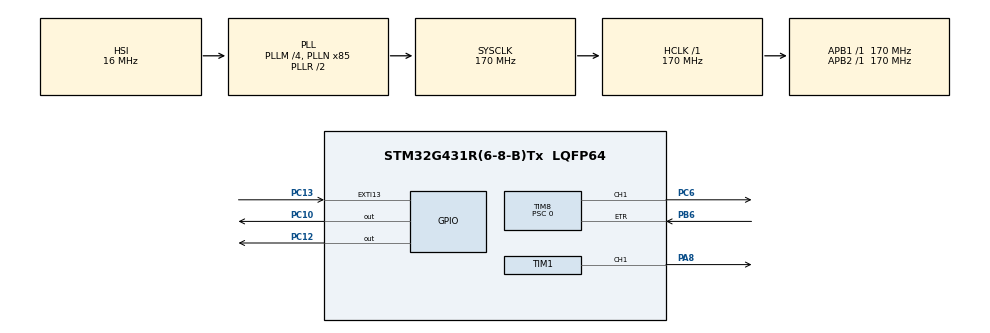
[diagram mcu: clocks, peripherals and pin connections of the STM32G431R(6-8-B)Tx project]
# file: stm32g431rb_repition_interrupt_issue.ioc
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Mcu.Family=STM32G4
Mcu.Name=STM32G431R(6-8-B)Tx
Mcu.Package=LQFP64
NVIC.EXTI15_10_IRQn=true\:0\:0\:false\:false\:true\:true\:true\:true
NVIC.PriorityGroup=NVIC_PRIORITYGROUP_4
NVIC.TIM1_UP_TIM16_IRQn=true\:0\:0\:false\:false\:true\:true\:true\:true
NVIC.TIM8_UP_IRQn=true\:15\:0\:true\:false\:true\:true\:true\:true
PA8.Signal=S_TIM1_CH1
PB6.Signal=S_TIM8_ETR
PC10.Signal=GPIO_Output
PC12.Signal=GPIO_Output
PC13.Signal=GPXTI13
PC6.Signal=S_TIM8_CH1
ProjectManager.HeapSize=0x200
ProjectManager.StackSize=0x400
ProjectManager.TargetToolchain=STM32CubeIDE
RCC.ADC12Freq_Value=170000000
RCC.AHBFreq_Value=170000000
RCC.APB1Freq_Value=170000000
RCC.APB1TimFreq_Value=170000000
RCC.APB2Freq_Value=170000000
RCC.APB2TimFreq_Value=170000000
RCC.CortexFreq_Value=170000000
RCC.EXTERNAL_CLOCK_VALUE=12288000
RCC.HCLKFreq_Value=170000000
RCC.HSE_VALUE=8000000
RCC.HSI48_VALUE=48000000
RCC.HSI_VALUE=16000000
RCC.LSE_VALUE=32768
RCC.PLLM=RCC_PLLM_DIV4
RCC.PLLN=85
RCC.SYSCLKFreq_VALUE=170000000
RCC.SYSCLKSource=RCC_SYSCLKSOURCE_PLLCLK
RCC.USBFreq_Value=170000000
RCC.VCOOutputFreq_Value=340000000
SH.S_TIM1_CH1.0=TIM1_CH1,PWM Generation1 CH1
SH.S_TIM8_CH1.0=TIM8_CH1,PWM Generation1 CH1
SH.S_TIM8_ETR.0=TIM8_ETR,TriggerSource_ETR
TIM1.Channel-PWM\ Generation1\ CH1=TIM_CHANNEL_1
TIM1.CounterMode=TIM_COUNTERMODE_CENTERALIGNED1
TIM1.OC1Preload_PWM=ENABLE
TIM1.OCMode_PWM-PWM\ Generation1\ CH1=TIM_OCMODE_PWM2
TIM1.OCPolarity_1=TIM_OCPOLARITY_LOW
TIM1.PeriodNoDither=10624
TIM1.Prescaler=0
TIM1.PulseNoDither_1=(10624 / 2)
TIM8.Channel-PWM\ Generation1\ CH1=TIM_CHANNEL_1
TIM8.CounterMode=TIM_COUNTERMODE_CENTERALIGNED1
TIM8.OCMode_PWM-PWM\ Generation1\ CH1=TIM_OCMODE_PWM2
TIM8.PeriodNoDither=5312
TIM8.Prescaler=0
TIM8.PulseNoDither_1=20
TIM8.RepetitionCounter=1
VP_SYS_VS_DBSignals.Mode=DisableDeadBatterySignals
VP_TIM8_VS_ControllerModeReset.Mode=Reset Mode
board=custom

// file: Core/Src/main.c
/* USER CODE BEGIN Header */
/**
  ******************************************************************************
  * @file           : main.c
  * @brief          : Main program body
  ******************************************************************************
  * @attention
  *
  * Copyright (c) 2024 STMicroelectronics.
  * All rights reserved.
  *
  * This software is licensed under terms that can be found in the LICENSE file
  * in the root directory of this software component.
  * If no LICENSE file comes with this software, it is provided AS-IS.
  *
  ******************************************************************************
  */
/* USER CODE END Header */
#include "main.h"

void SystemClock_Config(void);
static void MX_GPIO_Init(void);
static void MX_TIM8_Init(void);
static void MX_TIM1_Init(void);

int main(void)
{

  /* MCU Configuration--------------------------------------------------------*/

  /* Reset of all peripherals, Initializes the Flash interface and the Systick. */
  HAL_Init();

  /* Configure the system clock */
  SystemClock_Config();

  /* Initialize all configured peripherals */
  MX_GPIO_Init();
  MX_TIM8_Init();
  MX_TIM1_Init();
  /* USER CODE BEGIN 2 */
  __HAL_FREEZE_TIM8_DBGMCU();

  LL_TIM_SetCounter(TIM8, 0);
  LL_TIM_CC_EnableChannel(TIM8, LL_TIM_CHANNEL_CH1);
  LL_TIM_EnableAllOutputs(TIM8);
  LL_TIM_SetRepetitionCounter(TIM8, 3);
  LL_TIM_GenerateEvent_UPDATE(TIM8);
  LL_TIM_ClearFlag_UPDATE(TIM8);
  LL_TIM_EnableCounter(TIM8);
  LL_TIM_EnableIT_UPDATE(TIM8);

  LL_TIM_SetCounter(TIM1, 0);
  LL_TIM_CC_EnableChannel(TIM1, LL_TIM_CHANNEL_CH1);
  LL_TIM_EnableAllOutputs(TIM1);
  LL_TIM_ClearFlag_UPDATE(TIM1);
  LL_TIM_EnableCounter(TIM1);
  LL_TIM_EnableIT_UPDATE(TIM1);
  /* USER CODE END 2 */

  /* Infinite loop */
  while (1)
  {

  }
}

void SystemClock_Config(void)
{
  RCC_OscInitTypeDef RCC_OscInitStruct = {0};
  RCC_ClkInitTypeDef RCC_ClkInitStruct = {0};

  /** Configure the main internal regulator output voltage
  */
  HAL_PWREx_ControlVoltageScaling(PWR_REGULATOR_VOLTAGE_SCALE1_BOOST);

  /** Initializes the RCC Oscillators according to the specified parameters
  * in the RCC_OscInitTypeDef structure.
  */
  RCC_OscInitStruct.OscillatorType = RCC_OSCILLATORTYPE_HSI;
  RCC_OscInitStruct.HSIState = RCC_HSI_ON;
  RCC_OscInitStruct.HSICalibrationValue = RCC_HSICALIBRATION_DEFAULT;
  RCC_OscInitStruct.PLL.PLLState = RCC_PLL_ON;
  RCC_OscInitStruct.PLL.PLLSource = RCC_PLLSOURCE_HSI;
  RCC_OscInitStruct.PLL.PLLM = RCC_PLLM_DIV4;
  RCC_OscInitStruct.PLL.PLLN = 85;
  RCC_OscInitStruct.PLL.PLLP = RCC_PLLP_DIV2;
  RCC_OscInitStruct.PLL.PLLQ = RCC_PLLQ_DIV2;
  RCC_OscInitStruct.PLL.PLLR = RCC_PLLR_DIV2;
  if (HAL_RCC_OscConfig(&RCC_OscInitStruct) != HAL_OK)
  {
    Error_Handler();
  }

  /** Initializes the CPU, AHB and APB buses clocks
  */
  RCC_ClkInitStruct.ClockType = RCC_CLOCKTYPE_HCLK|RCC_CLOCKTYPE_SYSCLK
                              |RCC_CLOCKTYPE_PCLK1|RCC_CLOCKTYPE_PCLK2;
  RCC_ClkInitStruct.SYSCLKSource = RCC_SYSCLKSOURCE_PLLCLK;
  RCC_ClkInitStruct.AHBCLKDivider = RCC_SYSCLK_DIV1;
  RCC_ClkInitStruct.APB1CLKDivider = RCC_HCLK_DIV1;
  RCC_ClkInitStruct.APB2CLKDivider = RCC_HCLK_DIV1;

  if (HAL_RCC_ClockConfig(&RCC_ClkInitStruct, FLASH_LATENCY_4) != HAL_OK)
  {
    Error_Handler();
  }
}

static void MX_TIM1_Init(void)
{

  LL_TIM_InitTypeDef TIM_InitStruct = {0};
  LL_TIM_OC_InitTypeDef TIM_OC_InitStruct = {0};
  LL_TIM_BDTR_InitTypeDef TIM_BDTRInitStruct = {0};

  LL_GPIO_InitTypeDef GPIO_InitStruct = {0};

  /* Peripheral clock enable */
  LL_APB2_GRP1_EnableClock(LL_APB2_GRP1_PERIPH_TIM1);

  /* TIM1 interrupt Init */
  NVIC_SetPriority(TIM1_UP_TIM16_IRQn, NVIC_EncodePriority(NVIC_GetPriorityGrouping(),0, 0));
  NVIC_EnableIRQ(TIM1_UP_TIM16_IRQn);

  TIM_InitStruct.Prescaler = 0;
  TIM_InitStruct.CounterMode = LL_TIM_COUNTERMODE_CENTER_DOWN;
  TIM_InitStruct.Autoreload = 10624;
  TIM_InitStruct.ClockDivision = LL_TIM_CLOCKDIVISION_DIV1;
  TIM_InitStruct.RepetitionCounter = 0;
  LL_TIM_Init(TIM1, &TIM_InitStruct);
  LL_TIM_DisableARRPreload(TIM1);
  LL_TIM_OC_EnablePreload(TIM1, LL_TIM_CHANNEL_CH1);
  TIM_OC_InitStruct.OCMode = LL_TIM_OCMODE_PWM2;
  TIM_OC_InitStruct.OCState = LL_TIM_OCSTATE_DISABLE;
  TIM_OC_InitStruct.OCNState = LL_TIM_OCSTATE_DISABLE;
  TIM_OC_InitStruct.CompareValue = (10624 / 2);
  TIM_OC_InitStruct.OCPolarity = LL_TIM_OCPOLARITY_LOW;
  TIM_OC_InitStruct.OCNPolarity = LL_TIM_OCPOLARITY_HIGH;
  TIM_OC_InitStruct.OCIdleState = LL_TIM_OCIDLESTATE_LOW;
  TIM_OC_InitStruct.OCNIdleState = LL_TIM_OCIDLESTATE_LOW;
  LL_TIM_OC_Init(TIM1, LL_TIM_CHANNEL_CH1, &TIM_OC_InitStruct);
  LL_TIM_OC_DisableFast(TIM1, LL_TIM_CHANNEL_CH1);
  LL_TIM_SetTriggerOutput(TIM1, LL_TIM_TRGO_RESET);
  LL_TIM_SetTriggerOutput2(TIM1, LL_TIM_TRGO2_RESET);
  LL_TIM_DisableMasterSlaveMode(TIM1);
  TIM_BDTRInitStruct.OSSRState = LL_TIM_OSSR_DISABLE;
  TIM_BDTRInitStruct.OSSIState = LL_TIM_OSSI_DISABLE;
  TIM_BDTRInitStruct.LockLevel = LL_TIM_LOCKLEVEL_OFF;
  TIM_BDTRInitStruct.DeadTime = 0;
  TIM_BDTRInitStruct.BreakState = LL_TIM_BREAK_DISABLE;
  TIM_BDTRInitStruct.BreakPolarity = LL_TIM_BREAK_POLARITY_HIGH;
  TIM_BDTRInitStruct.BreakFilter = LL_TIM_BREAK_FILTER_FDIV1;
  TIM_BDTRInitStruct.BreakAFMode = LL_TIM_BREAK_AFMODE_INPUT;
  TIM_BDTRInitStruct.Break2State = LL_TIM_BREAK2_DISABLE;
  TIM_BDTRInitStruct.Break2Polarity = LL_TIM_BREAK2_POLARITY_HIGH;
  TIM_BDTRInitStruct.Break2Filter = LL_TIM_BREAK2_FILTER_FDIV1;
  TIM_BDTRInitStruct.Break2AFMode = LL_TIM_BREAK_AFMODE_INPUT;
  TIM_BDTRInitStruct.AutomaticOutput = LL_TIM_AUTOMATICOUTPUT_DISABLE;
  LL_TIM_BDTR_Init(TIM1, &TIM_BDTRInitStruct);
  LL_AHB2_GRP1_EnableClock(LL_AHB2_GRP1_PERIPH_GPIOA);
  /**TIM1 GPIO Configuration
  PA8   ------> TIM1_CH1
  */
  GPIO_InitStruct.Pin = LL_GPIO_PIN_8;
  GPIO_InitStruct.Mode = LL_GPIO_MODE_ALTERNATE;
  GPIO_InitStruct.Speed = LL_GPIO_SPEED_FREQ_LOW;
  GPIO_InitStruct.OutputType = LL_GPIO_OUTPUT_PUSHPULL;
  GPIO_InitStruct.Pull = LL_GPIO_PULL_NO;
  GPIO_InitStruct.Alternate = LL_GPIO_AF_6;
  LL_GPIO_Init(GPIOA, &GPIO_InitStruct);

}

static void MX_TIM8_Init(void)
{

  LL_TIM_InitTypeDef TIM_InitStruct = {0};
  LL_TIM_OC_InitTypeDef TIM_OC_InitStruct = {0};
  LL_TIM_BDTR_InitTypeDef TIM_BDTRInitStruct = {0};

  LL_GPIO_InitTypeDef GPIO_InitStruct = {0};

  /* Peripheral clock enable */
  LL_APB2_GRP1_EnableClock(LL_APB2_GRP1_PERIPH_TIM8);

  LL_AHB2_GRP1_EnableClock(LL_AHB2_GRP1_PERIPH_GPIOB);
  /**TIM8 GPIO Configuration
  PB6   ------> TIM8_ETR
  */
  GPIO_InitStruct.Pin = LL_GPIO_PIN_6;
  GPIO_InitStruct.Mode = LL_GPIO_MODE_ALTERNATE;
  GPIO_InitStruct.Speed = LL_GPIO_SPEED_FREQ_LOW;
  GPIO_InitStruct.OutputType = LL_GPIO_OUTPUT_PUSHPULL;
  GPIO_InitStruct.Pull = LL_GPIO_PULL_NO;
  GPIO_InitStruct.Alternate = LL_GPIO_AF_6;
  LL_GPIO_Init(GPIOB, &GPIO_InitStruct);

  /* TIM8 interrupt Init */
  NVIC_SetPriority(TIM8_UP_IRQn, NVIC_EncodePriority(NVIC_GetPriorityGrouping(),15, 0));
  NVIC_EnableIRQ(TIM8_UP_IRQn);

  TIM_InitStruct.Prescaler = 0;
  TIM_InitStruct.CounterMode = LL_TIM_COUNTERMODE_CENTER_DOWN;
  TIM_InitStruct.Autoreload = 5312;
  TIM_InitStruct.ClockDivision = LL_TIM_CLOCKDIVISION_DIV1;
  TIM_InitStruct.RepetitionCounter = 1;
  LL_TIM_Init(TIM8, &TIM_InitStruct);
  LL_TIM_DisableARRPreload(TIM8);
  LL_TIM_OC_EnablePreload(TIM8, LL_TIM_CHANNEL_CH1);
  TIM_OC_InitStruct.OCMode = LL_TIM_OCMODE_PWM2;
  TIM_OC_InitStruct.OCState = LL_TIM_OCSTATE_DISABLE;
  TIM_OC_InitStruct.OCNState = LL_TIM_OCSTATE_DISABLE;
  TIM_OC_InitStruct.CompareValue = 20;
  TIM_OC_InitStruct.OCPolarity = LL_TIM_OCPOLARITY_HIGH;
  TIM_OC_InitStruct.OCNPolarity = LL_TIM_OCPOLARITY_HIGH;
  TIM_OC_InitStruct.OCIdleState = LL_TIM_OCIDLESTATE_LOW;
  TIM_OC_InitStruct.OCNIdleState = LL_TIM_OCIDLESTATE_LOW;
  LL_TIM_OC_Init(TIM8, LL_TIM_CHANNEL_CH1, &TIM_OC_InitStruct);
  LL_TIM_OC_DisableFast(TIM8, LL_TIM_CHANNEL_CH1);
  LL_TIM_SetTriggerInput(TIM8, LL_TIM_TS_ETRF);
  LL_TIM_SetSlaveMode(TIM8, LL_TIM_SLAVEMODE_RESET);
  LL_TIM_DisableExternalClock(TIM8);
  LL_TIM_ConfigETR(TIM8, LL_TIM_ETR_POLARITY_NONINVERTED, LL_TIM_ETR_PRESCALER_DIV1, LL_TIM_ETR_FILTER_FDIV1);
  LL_TIM_DisableIT_TRIG(TIM8);
  LL_TIM_DisableDMAReq_TRIG(TIM8);
  LL_TIM_SetTriggerOutput(TIM8, LL_TIM_TRGO_RESET);
  LL_TIM_SetTriggerOutput2(TIM8, LL_TIM_TRGO2_RESET);
  LL_TIM_DisableMasterSlaveMode(TIM8);
  TIM_BDTRInitStruct.OSSRState = LL_TIM_OSSR_DISABLE;
  TIM_BDTRInitStruct.OSSIState = LL_TIM_OSSI_DISABLE;
  TIM_BDTRInitStruct.LockLevel = LL_TIM_LOCKLEVEL_OFF;
  TIM_BDTRInitStruct.DeadTime = 0;
  TIM_BDTRInitStruct.BreakState = LL_TIM_BREAK_DISABLE;
  TIM_BDTRInitStruct.BreakPolarity = LL_TIM_BREAK_POLARITY_HIGH;
  TIM_BDTRInitStruct.BreakFilter = LL_TIM_BREAK_FILTER_FDIV1;
  TIM_BDTRInitStruct.BreakAFMode = LL_TIM_BREAK_AFMODE_INPUT;
  TIM_BDTRInitStruct.Break2State = LL_TIM_BREAK2_DISABLE;
  TIM_BDTRInitStruct.Break2Polarity = LL_TIM_BREAK2_POLARITY_HIGH;
  TIM_BDTRInitStruct.Break2Filter = LL_TIM_BREAK2_FILTER_FDIV1;
  TIM_BDTRInitStruct.Break2AFMode = LL_TIM_BREAK_AFMODE_INPUT;
  TIM_BDTRInitStruct.AutomaticOutput = LL_TIM_AUTOMATICOUTPUT_DISABLE;
  LL_TIM_BDTR_Init(TIM8, &TIM_BDTRInitStruct);
  LL_AHB2_GRP1_EnableClock(LL_AHB2_GRP1_PERIPH_GPIOC);
  /**TIM8 GPIO Configuration
  PC6   ------> TIM8_CH1
  */
  GPIO_InitStruct.Pin = LL_GPIO_PIN_6;
  GPIO_InitStruct.Mode = LL_GPIO_MODE_ALTERNATE;
  GPIO_InitStruct.Speed = LL_GPIO_SPEED_FREQ_LOW;
  GPIO_InitStruct.OutputType = LL_GPIO_OUTPUT_PUSHPULL;
  GPIO_InitStruct.Pull = LL_GPIO_PULL_NO;
  GPIO_InitStruct.Alternate = LL_GPIO_AF_4;
  LL_GPIO_Init(GPIOC, &GPIO_InitStruct);

}

static void MX_GPIO_Init(void)
{
  LL_EXTI_InitTypeDef EXTI_InitStruct = {0};
  LL_GPIO_InitTypeDef GPIO_InitStruct = {0};

  /* GPIO Ports Clock Enable */
  LL_AHB2_GRP1_EnableClock(LL_AHB2_GRP1_PERIPH_GPIOC);
  LL_AHB2_GRP1_EnableClock(LL_AHB2_GRP1_PERIPH_GPIOA);
  LL_AHB2_GRP1_EnableClock(LL_AHB2_GRP1_PERIPH_GPIOB);

  /**/
  LL_GPIO_ResetOutputPin(GPIOC, LL_GPIO_PIN_10);

  /**/
  LL_GPIO_ResetOutputPin(GPIOC, LL_GPIO_PIN_12);

  /**/
  LL_SYSCFG_SetEXTISource(LL_SYSCFG_EXTI_PORTC, LL_SYSCFG_EXTI_LINE13);

  /**/
  EXTI_InitStruct.Line_0_31 = LL_EXTI_LINE_13;
  EXTI_InitStruct.LineCommand = ENABLE;
  EXTI_InitStruct.Mode = LL_EXTI_MODE_IT;
  EXTI_InitStruct.Trigger = LL_EXTI_TRIGGER_RISING;
  LL_EXTI_Init(&EXTI_InitStruct);

  /**/
  LL_GPIO_SetPinPull(GPIOC, LL_GPIO_PIN_13, LL_GPIO_PULL_NO);

  /**/
  LL_GPIO_SetPinMode(GPIOC, LL_GPIO_PIN_13, LL_GPIO_MODE_INPUT);

  /**/
  GPIO_InitStruct.Pin = LL_GPIO_PIN_10;
  GPIO_InitStruct.Mode = LL_GPIO_MODE_OUTPUT;
  GPIO_InitStruct.Speed = LL_GPIO_SPEED_FREQ_LOW;
  GPIO_InitStruct.OutputType = LL_GPIO_OUTPUT_PUSHPULL;
  GPIO_InitStruct.Pull = LL_GPIO_PULL_NO;
  LL_GPIO_Init(GPIOC, &GPIO_InitStruct);

  /**/
  GPIO_InitStruct.Pin = LL_GPIO_PIN_12;
  GPIO_InitStruct.Mode = LL_GPIO_MODE_OUTPUT;
  GPIO_InitStruct.Speed = LL_GPIO_SPEED_FREQ_LOW;
  GPIO_InitStruct.OutputType = LL_GPIO_OUTPUT_PUSHPULL;
  GPIO_InitStruct.Pull = LL_GPIO_PULL_NO;
  LL_GPIO_Init(GPIOC, &GPIO_InitStruct);

  /* EXTI interrupt init*/
  NVIC_SetPriority(EXTI15_10_IRQn, NVIC_EncodePriority(NVIC_GetPriorityGrouping(),0, 0));
  NVIC_EnableIRQ(EXTI15_10_IRQn);

}

void Error_Handler(void)
{
  __disable_irq();
  while (1)
  {
  }
}
